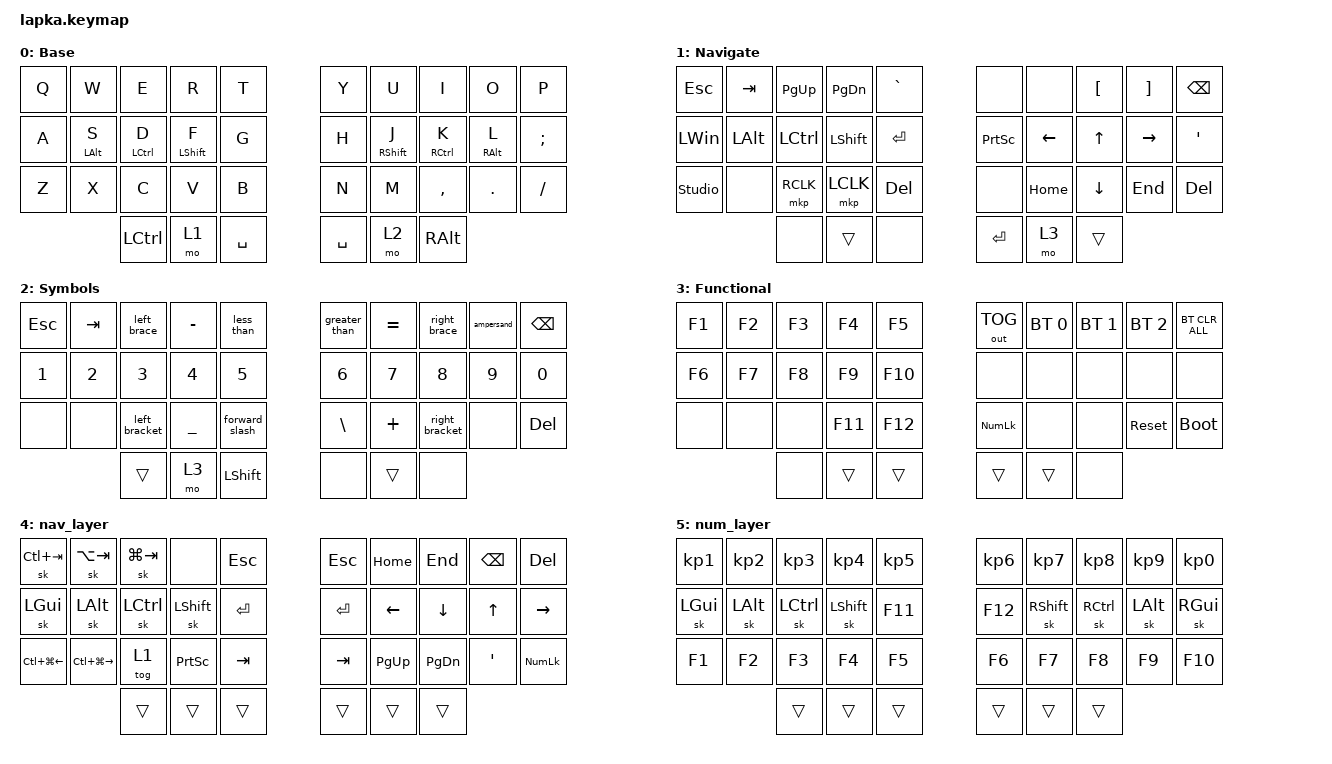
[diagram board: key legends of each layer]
#include <behaviors.dtsi>
#include <dt-bindings/zmk/bt.h>
#include <dt-bindings/zmk/keys.h>
#include <dt-bindings/zmk/outputs.h>
#include <dt-bindings/zmk/pointing.h>

#define DEF 0
#define GAM 1
#define GFN 2
#define NAV 3
#define SYM 4
#define NUM 5

&sk { release-after-ms = <60000>; };

/ {
    conditional_layers { compatible = "zmk,conditional-layers"; };
};

/ {
    macros {
        left_bracket: left_bracket {
            compatible = "zmk,behavior-macro";
            #binding-cells = <0>;
            bindings = <&kp LA(LEFT_SHIFT) &kp LEFT_BRACKET &kp LA(LEFT_SHIFT)>;
            label = "LEFT_BRACKET";
        };

        right_bracket: right_bracket {
            compatible = "zmk,behavior-macro";
            #binding-cells = <0>;
            bindings = <&kp LA(LEFT_SHIFT) &kp RIGHT_BRACKET &kp LA(LEFT_SHIFT)>;
            label = "RIGHT_BRACKET";
        };

        left_brace: left_brace {
            compatible = "zmk,behavior-macro";
            #binding-cells = <0>;
            bindings = <&kp LA(LEFT_SHIFT) &kp LEFT_BRACE &kp LA(LEFT_SHIFT)>;
            label = "LEFT_BRACE";
        };

        right_brace: right_brace {
            compatible = "zmk,behavior-macro";
            #binding-cells = <0>;
            bindings = <&kp LA(LEFT_SHIFT) &kp RIGHT_BRACE &kp LA(LEFT_SHIFT)>;
            label = "RIGHT_BRACE";
        };

        less_than: less_than {
            compatible = "zmk,behavior-macro";
            #binding-cells = <0>;
            bindings = <&kp LA(LEFT_SHIFT) &kp LESS_THAN &kp LA(LEFT_SHIFT)>;
            label = "LESS_THAN";
        };

        greater_than: greater_than {
            compatible = "zmk,behavior-macro";
            #binding-cells = <0>;
            bindings = <&kp LA(LEFT_SHIFT) &kp GREATER_THAN &kp LA(LEFT_SHIFT)>;
            label = "GREATER_THAN";
        };

        forward_slash: forward_slash {
            compatible = "zmk,behavior-macro";
            #binding-cells = <0>;
            bindings = <&kp LA(LEFT_SHIFT) &kp SLASH &kp LA(LEFT_SHIFT)>;
            label = "FORWARD_SLASH";
        };

        ampersand: ampersand {
            compatible = "zmk,behavior-macro";
            #binding-cells = <0>;
            bindings = <&kp LA(LEFT_SHIFT) &kp LS(NUMBER_7) &kp LA(LEFT_SHIFT)>;
            label = "AMPERSAND";
        };
    };

    behaviors {
        mousekey_behavior: mousekey_behavior {
            compatible = "zmk,behavior-mouse-key-press";
            label = "MOUSEKEY_BEHAVIOR";
            #binding-cells = <1>;
        };
    };

    keymap {
        compatible = "zmk,keymap";

        Base {
            bindings = <
&kp Q  &kp W           &kp E               &kp R             &kp T      &kp Y      &kp U              &kp I                &kp O            &kp P
&kp A  &mt LEFT_ALT S  &mt LEFT_CONTROL D  &mt LEFT_SHIFT F  &kp G      &kp H      &mt RIGHT_SHIFT J  &mt RIGHT_CONTROL K  &mt RIGHT_ALT L  &kp SEMI
&kp Z  &kp X           &kp C               &kp V             &kp B      &kp N      &kp M              &kp COMMA            &kp DOT          &kp FSLH
                       &kp LEFT_CONTROL    &mo 1             &kp SPACE  &kp SPACE  &mo 2              &kp RALT
            >;
        };

        Navigate {
            bindings = <
&kp ESCAPE      &kp TAB       &kp PAGE_UP       &kp PAGE_DOWN   &kp GRAVE   &none            &none     &kp LEFT_BRACKET  &kp RIGHT_BRACKET  &kp BACKSPACE
&kp LEFT_WIN    &kp LEFT_ALT  &kp LEFT_CONTROL  &kp LEFT_SHIFT  &kp ENTER   &kp PRINTSCREEN  &kp LEFT  &kp UP_ARROW      &kp RIGHT          &kp SINGLE_QUOTE
&studio_unlock  &none         &mkp RCLK         &mkp LCLK       &kp DELETE  &none            &kp HOME  &kp DOWN          &kp END            &kp DELETE
                              &none             &trans          &none       &kp ENTER        &mo 3     &trans
            >;
        };

        Symbols {
            bindings = <
&kp ESCAPE    &kp TAB       &left_brace    &kp MINUS     &less_than      &greater_than  &kp EQUAL  &right_brace    &ampersand  &kp BACKSPACE
&kp NUMBER_1  &kp NUMBER_2  &kp NUMBER_3   &kp NUMBER_4  &kp N5          &kp NUMBER_6   &kp N7     &kp N8          &kp N9      &kp N0
&none         &none         &left_bracket  &kp UNDER     &forward_slash  &kp BACKSLASH  &kp PLUS   &right_bracket  &none       &kp DELETE
                            &trans         &mo 3         &kp LEFT_SHIFT  &none          &trans     &none
            >;
        };

        Functional {
            bindings = <
&kp F1  &kp F2  &kp F3  &kp F4   &kp F5   &out OUT_TOG  &bt BT_SEL 0  &bt BT_SEL 1  &bt BT_SEL 2  &bt BT_CLR_ALL
&kp F6  &kp F7  &kp F8  &kp F9   &kp F10  &none         &none         &none         &none         &none
&none   &none   &none   &kp F11  &kp F12  &kp KP_NUM    &none         &none         &sys_reset    &bootloader
                &none   &trans   &trans   &trans        &trans        &none
            >;
        };

        nav_layer {
            bindings = <
&sk LC(TAB)       &sk LA(TAB)        &sk LG(TAB)  &none      &kp ESC  &kp ESC  &kp HOME   &kp END    &kp BSPC  &kp DEL
&sk LGUI          &sk LALT           &sk LCTRL    &sk LSHFT  &kp RET  &kp RET  &kp LEFT   &kp DOWN   &kp UP    &kp RIGHT
&kp LC(LG(LEFT))  &kp LC(LG(RIGHT))  &tog 1       &kp PSCRN  &kp TAB  &kp TAB  &kp PG_UP  &kp PG_DN  &kp APOS  &kp KP_NUM
                                     &trans       &trans     &trans   &trans   &trans     &trans
            >;
        };

        num_layer {
            bindings = <
&kp KP_N1  &kp KP_N2  &kp KP_N3  &kp KP_N4  &kp KP_N5  &kp KP_N6  &kp KP_N7  &kp KP_N8  &kp KP_N9  &kp KP_N0
&sk LGUI   &sk LALT   &sk LCTRL  &sk LSHFT  &kp F11    &kp F12    &sk RSHFT  &sk RCTRL  &sk LALT   &sk RGUI
&kp F1     &kp F2     &kp F3     &kp F4     &kp F5     &kp F6     &kp F7     &kp F8     &kp F9     &kp F10
                      &trans     &trans     &trans     &trans     &trans     &trans
            >;
        };
    };
};
